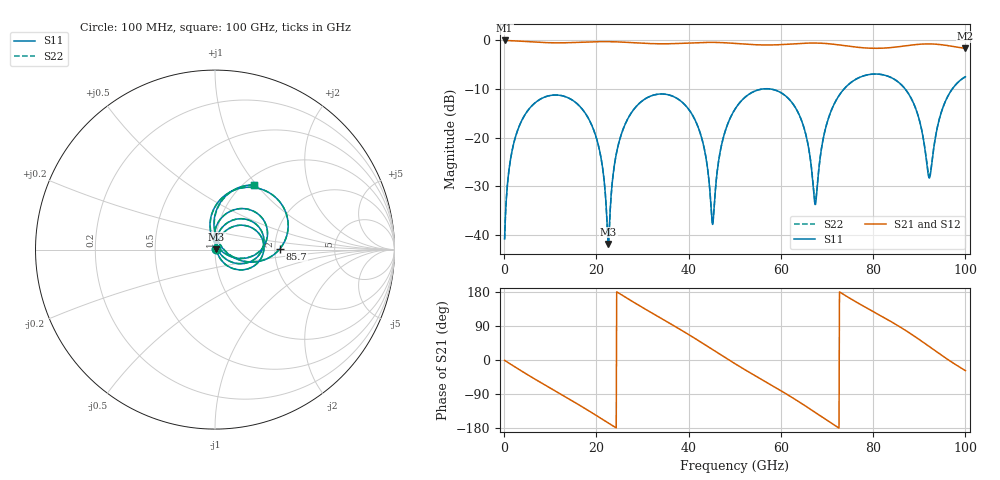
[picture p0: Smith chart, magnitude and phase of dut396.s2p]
! Touchstone file exported from HFSS 2026.1.0
!  File:  C:/ffzhzh/LocalFiles/Ansys_Project_Files/temp_train_TSV_RDL_396_1783720037_44652.aedt
!  Generated:  05:54:51 AM Jul 11, 2026
!  Design:  TSV_RDL
!  Project:  temp_train_TSV_RDL_396_1783720037_44652
! Variables:
!  h_bsmrdl = 4.3um
!  h_ox = 20um
!  h_rdl = 5um
!  h_sub = 81.54um
!  h_tmrdl = 4.09um
!  h_tsv = 81.54um
!  h_via = 3um
!  l_bsmrdl = 296.78um
!  l_sub = 2355.98um
!  l_tmrdl = 227.95um
!  m_sub = 200um
!  pitch = 42.53um
!  r_tsv = 10.97um
!  s_tmrdl = 10um
!  w_bsmrdl = 27.35um
!  w_sub = 500um
!  w_tmrdl = 23.93um
!  x_tsv_center1 = 239.915um
!  x_tsv_center2 = 564.045um
!  x_tsv_center3 = 815.925um
!  x_tsv_center4 = 1140.055um
!  x_tsv_center5 = 1391.935um
!  x_tsv_center6 = 1716.065um
# GHz S MA R 50.000000
! Terminal data exported
! Port[1] = TM_RDL1_1_T1
! Port[2] = TM_RDL5_1_T1
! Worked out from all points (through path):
!   1000 points, 100 MHz to 100 GHz, reference 50 ohm
!   highest |S21| = -0.07 dB at 100 MHz (marker M1); lowest = -1.7 dB at 100 GHz (marker M2)
!   group delay of S21, straight-line fit = 20.6 ps
!   lowest |S11| = -41.9 dB at 22.6 GHz (marker M3), VSWR 1.02, Z = 50.8 + j0.23 ohm
!   |S11| at or under -10 dB: start of sweep to 56.35 GHz; 57.39 GHz to 73.72 GHz (16.34 GHz wide, 24.9 % of centre); 86.91 GHz to 97.18 GHz (10.27 GHz wide, 11.2 % of centre)
!   |S22| runs from -42.3 to -7.0 dB; largest |S21 - S12| = 2.2e-14
!   S11 on the Smith chart (normalised r, x): 100 MHz: 1.02, +0.01; 85.7 GHz: 2.14, +0.03; 100 GHz: 1.11, +0.97
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0.1  0.009071 33.6  0.9925 -0.8  0.9925 -0.8  0.009071 33.6
! Gamma 0 0 0 0
! Port Impedance 50 0 50 0
1.7  0.07235 67.5  0.9858 -13.3  0.9858 -13.3  0.07235 67.5
4.8  0.1799 48.0  0.9665 -36.8  0.9665 -36.8  0.1799 47.9
16.8  0.1991 -34.0  0.952 -122.6  0.952 -122.6  0.199 -34.1
20.5  0.08052 -57.7  0.9642 -150.3  0.9642 -150.3  0.08047 -57.9
22.6  0.008073 16.3  0.9647 -166.3  0.9647 -166.3  0.007654 16.8
25.9  0.1254 72.8  0.9531 168.6  0.9531 168.6  0.1254 73.1
33.4  0.2787 22.3  0.9177 114.4  0.9177 114.4  0.2787 22.4
41.5  0.1475 -31.9  0.9413 55.9  0.9413 55.9  0.1476 -31.7
45.2  0.01281 26.3  0.9484 27.5  0.9484 27.5  0.01289 26.3
47.2  0.08657 91.9  0.9429 11.9  0.9429 11.9  0.08655 91.9
50.1  0.1971 75.2  0.9253 -10.1  0.9253 -10.1  0.1971 75.3
61  0.2679 2.5  0.9044 -88.3  0.9044 -88.3  0.2679 2.8
66.7  0.04486 -17.4  0.9337 -132.3  0.9337 -132.3  0.04548 -15.4
67.6  0.02194 60.6  0.9334 -139.6  0.9334 -139.6  0.02353 59.6
69.8  0.1305 102.3  0.9232 -157.5  0.9232 -157.5  0.1309 101.7
73.3  0.2995 80.9  0.8845 175.1  0.8845 175.1  0.2997 80.7
83.4  0.4226 15.7  0.835 104.7  0.835 104.7  0.4228 15.8
85.7  0.3628 0.9  0.8578 88.2  0.8578 88.2  0.363 1.1
92.2  0.03833 36.8  0.9148 35.2  0.9148 35.2  0.04015 36.6
95.3  0.2137 88.4  0.891 8.6  0.891 8.6  0.214 87.9
100  0.4205 58.9  0.824 -28.0  0.824 -28.0  0.4207 58.7
